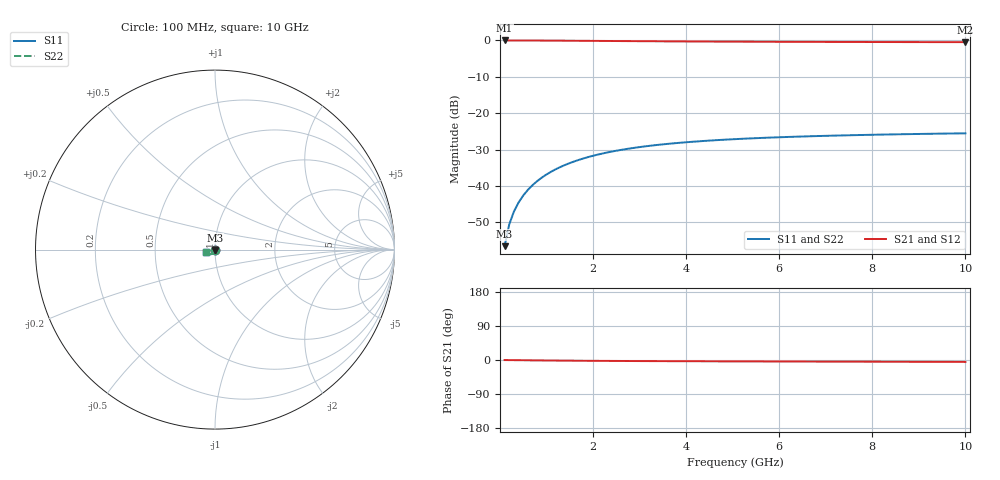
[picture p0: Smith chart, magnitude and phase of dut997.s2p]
! Touchstone file exported from HFSS 2024.1.0
!  File:  C:/UserFiles/LocalFiles/RDL_TSV_Batchsim/temp_TSV1_997_1779953274.aedt
!  Generated:  03:33:04 PM May 28, 2026
!  Design:  TSV1
!  Project:  temp_TSV1_997_1779953274
!  Setup:  Setup1
!  Solution:  Sweep
! Variables:
!  dtsv = 12.34um
!  hbump = 3um
!  htsv = 78.09um
!  lrdl = 252.1521522um
!  p = 40
!  p1 = 49.03um
!  t = 500um
!  trdl = 3um
!  wrdl = 24.89489489um
# GHz S MA R 50.000000
! Terminal data exported
! Port[1] = TSV22_T1
! Port[2] = TSV22_T2
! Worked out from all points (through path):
!   100 points, 100 MHz to 10 GHz, reference 50 ohm
!   highest |S21| = 0.00 dB at 100 MHz (marker M1); lowest = -0.5 dB at 10 GHz (marker M2)
!   lowest |S11| = -56.6 dB at 100 MHz (marker M3), VSWR 1.00, Z = 50 - j0.148 ohm
!   |S11| at or under -10 dB: start of sweep to end of sweep
!   |S22| runs from -56.6 to -25.5 dB; largest |S21 - S12| = 6.1e-15
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0.1  0.001482 -88.0  0.9999 -0.1  0.9999 -0.1  0.001482 -88.0
! Gamma 0 0 0 0
! Port Impedance 50 0 50 0
0.2  0.002959 -91.4  0.9997 -0.3  0.9997 -0.3  0.002959 -91.4
0.3  0.004436 -93.6  0.9995 -0.4  0.9995 -0.4  0.004436 -93.6
0.4  0.005907 -95.6  0.9992 -0.5  0.9992 -0.5  0.005907 -95.6
0.5  0.007367 -97.4  0.9988 -0.6  0.9988 -0.6  0.007367 -97.4
0.6  0.00881 -99.2  0.9983 -0.8  0.9983 -0.8  0.00881 -99.2
0.7  0.01023 -101.0  0.9977 -0.9  0.9977 -0.9  0.01023 -101.0
0.8  0.01163 -102.7  0.9971 -1.0  0.9971 -1.0  0.01163 -102.7
0.9  0.01301 -104.4  0.9965 -1.1  0.9965 -1.1  0.01301 -104.4
1.1  0.01567 -107.6  0.995 -1.3  0.995 -1.3  0.01567 -107.6
1.4  0.01941 -112.2  0.9924 -1.7  0.9924 -1.7  0.01941 -112.2
1.6  0.02173 -115.2  0.9906 -1.8  0.9906 -1.8  0.02173 -115.2
1.8  0.02391 -117.9  0.9886 -2.0  0.9886 -2.0  0.02391 -117.9
2.1  0.02691 -121.9  0.9857 -2.2  0.9857 -2.2  0.02691 -121.9
2.5  0.03044 -126.6  0.9818 -2.5  0.9818 -2.5  0.03044 -126.6
2.9  0.03347 -130.9  0.9781 -2.7  0.9781 -2.7  0.03347 -130.9
3.4  0.03667 -135.7  0.9738 -3.0  0.9738 -3.0  0.03667 -135.7
4.2  0.04071 -142.2  0.9679 -3.3  0.9679 -3.3  0.04071 -142.2
5.1  0.04409 -148.2  0.9626 -3.6  0.9626 -3.6  0.04409 -148.2
6.7  0.04819 -156.5  0.9557 -4.1  0.9557 -4.1  0.04819 -156.5
8.4  0.051 -163.3  0.9508 -4.6  0.9508 -4.6  0.051 -163.3
10  0.05283 -168.4  0.9476 -5.1  0.9476 -5.1  0.05283 -168.4
